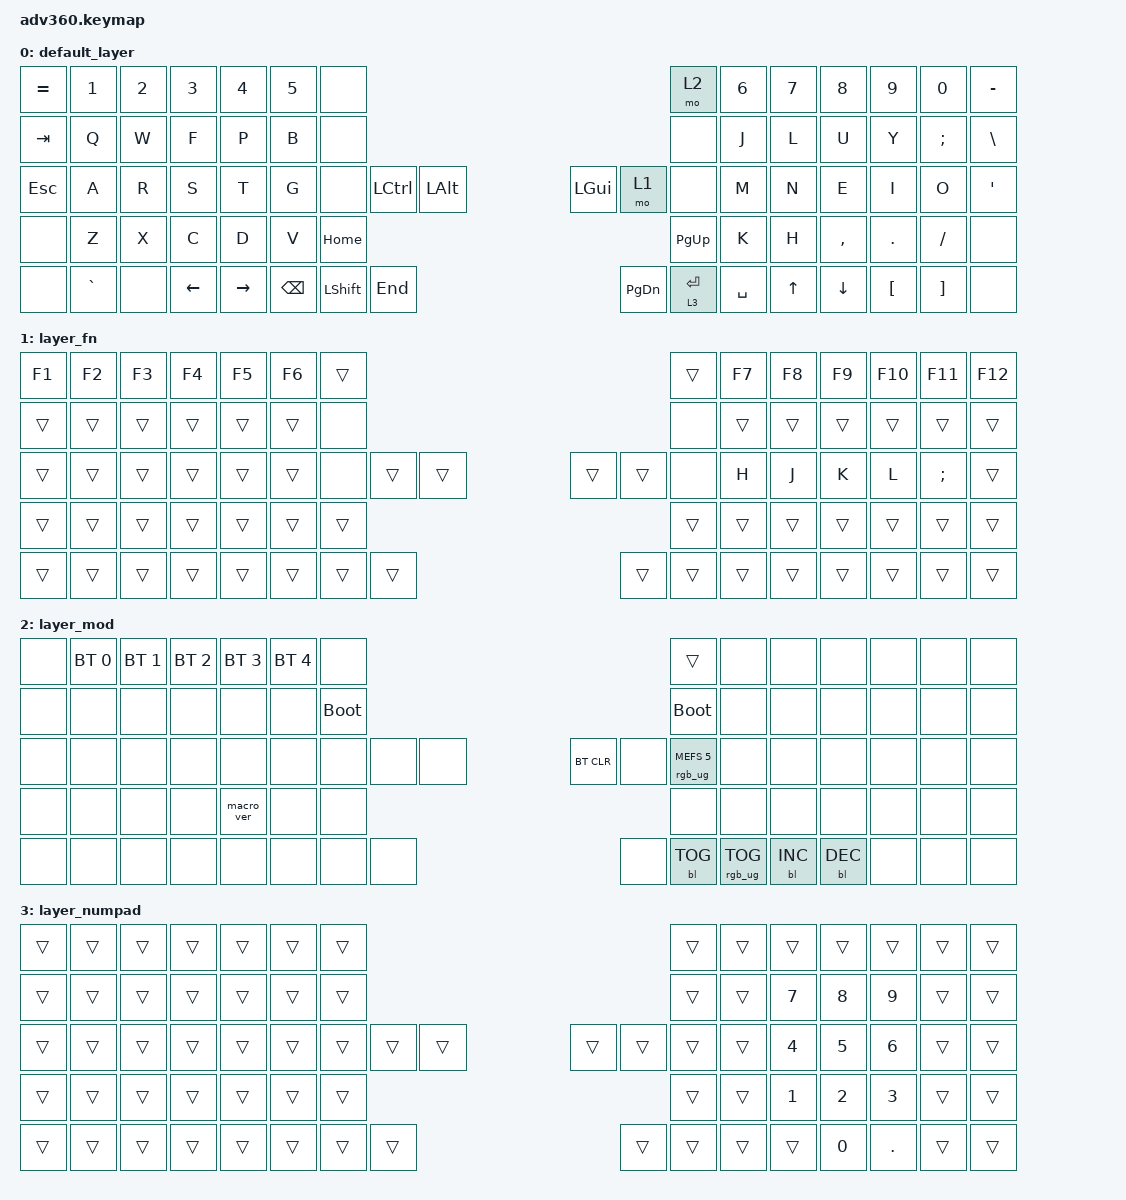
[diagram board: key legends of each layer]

/*
 * Copyright (c) 2020 The ZMK Contributors
 *
 * SPDX-License-Identifier: MIT
 */


/* THIS FILE WAS GENERATED!
 *
 * This file was generated automatically. You may or may not want to
 * edit it directly.
 */

#include <behaviors.dtsi>
#include <dt-bindings/zmk/keys.h>
#include <dt-bindings/zmk/bt.h>
#include <dt-bindings/zmk/rgb.h>
#include <dt-bindings/zmk/backlight.h>

/ {
  behaviors {
    #include "macros.dtsi"
    #include "version.dtsi"

    hm: homerow_mods {
        compatible = "zmk,behavior-hold-tap";
        label = "HOMEROW_MODS";
        #binding-cells = <2>;
        tapping-term-ms = <200>;
        quick_tap_ms = <175>;
        flavor = "tap-preferred";
        bindings = <&kp>, <&kp>;
    };
  };

    keymap {
        compatible = "zmk,keymap";


        default_layer {
            bindings = <
 &kp EQUAL     &kp N1  &kp N2    &kp N3     &kp N4  &kp N5               &none                                                                        &mo 2  &kp N6  &kp N7     &kp N8    &kp N9    &kp N0  &kp MINUS
   &kp TAB      &kp Q   &kp W     &kp F      &kp P   &kp B               &none                                                                        &none   &kp J   &kp L      &kp U     &kp Y  &kp SEMI   &kp BSLH
   &kp ESC      &kp A   &kp R     &kp S      &kp T   &kp G               &none       &kp LCTRL  &kp LALT                   &kp LGUI        &mo 1      &none   &kp M   &kp N      &kp E     &kp I     &kp O    &kp SQT
     &none      &kp Z   &kp X     &kp C      &kp D   &kp V                                      &kp HOME                  &kp PG_UP                           &kp K   &kp H  &kp COMMA   &kp DOT  &kp FSLH      &none
     &none  &kp GRAVE   &none  &kp LEFT  &kp RIGHT                    &kp BSPC  &kp LEFT_SHIFT   &kp END                  &kp PG_DN  &lt 3 ENTER  &kp SPACE          &kp UP   &kp DOWN  &kp LBKT  &kp RBKT      &none
            >;
        };

        layer_fn {
            bindings = <
 &kp F1  &kp F2  &kp F3  &kp F4  &kp F5  &kp F6            &trans                                                  &trans  &kp F7  &kp F8  &kp F9  &kp F10   &kp F11  &kp F12
 &trans  &trans  &trans  &trans  &trans  &trans             &none                                                   &none  &trans  &trans  &trans   &trans    &trans   &trans
 &trans  &trans  &trans  &trans  &trans  &trans             &none  &trans  &trans                  &trans  &trans   &none   &kp H   &kp J   &kp K    &kp L  &kp SEMI   &trans
 &trans  &trans  &trans  &trans  &trans  &trans                            &trans                  &trans                  &trans  &trans  &trans   &trans    &trans   &trans
 &trans  &trans  &trans  &trans  &trans                    &trans  &trans  &trans                  &trans  &trans  &trans          &trans  &trans   &trans    &trans   &trans
            >;
        };

        layer_mod {
            bindings = <
  &none  &bt BT_SEL 0  &bt BT_SEL 1  &bt BT_SEL 2  &bt BT_SEL 3  &bt BT_SEL 4                  &none                                                                          &trans   &none       &none       &none   &none   &none   &none
  &none         &none         &none         &none         &none         &none            &bootloader                                                                     &bootloader   &none       &none       &none   &none   &none   &none
  &none         &none         &none         &none         &none         &none                  &none   &none   &none                  &bt BT_CLR       &none  &rgb_ug RGB_MEFS_CMD 5   &none       &none       &none   &none   &none   &none
  &none         &none         &none         &none    &macro_ver         &none                                  &none                       &none                                       &none       &none       &none   &none   &none   &none
  &none         &none         &none         &none         &none                                &none   &none   &none                       &none  &bl BL_TOG         &rgb_ug RGB_TOG          &bl BL_INC  &bl BL_DEC   &none   &none   &none
            >;
        };

        layer_numpad {
            bindings = <
 &trans  &trans  &trans  &trans  &trans  &trans            &trans                                                  &trans  &trans        &trans        &trans        &trans  &trans  &trans
 &trans  &trans  &trans  &trans  &trans  &trans            &trans                                                  &trans  &trans  &kp NUMBER_7  &kp NUMBER_8  &kp NUMBER_9  &trans  &trans
 &trans  &trans  &trans  &trans  &trans  &trans            &trans  &trans  &trans                  &trans  &trans  &trans  &trans  &kp NUMBER_4  &kp NUMBER_5  &kp NUMBER_6  &trans  &trans
 &trans  &trans  &trans  &trans  &trans  &trans                            &trans                  &trans                  &trans  &kp NUMBER_1  &kp NUMBER_2  &kp NUMBER_3  &trans  &trans
 &trans  &trans  &trans  &trans  &trans                    &trans  &trans  &trans                  &trans  &trans  &trans                &trans  &kp NUMBER_0       &kp DOT  &trans  &trans
            >;
        };

    };
};
